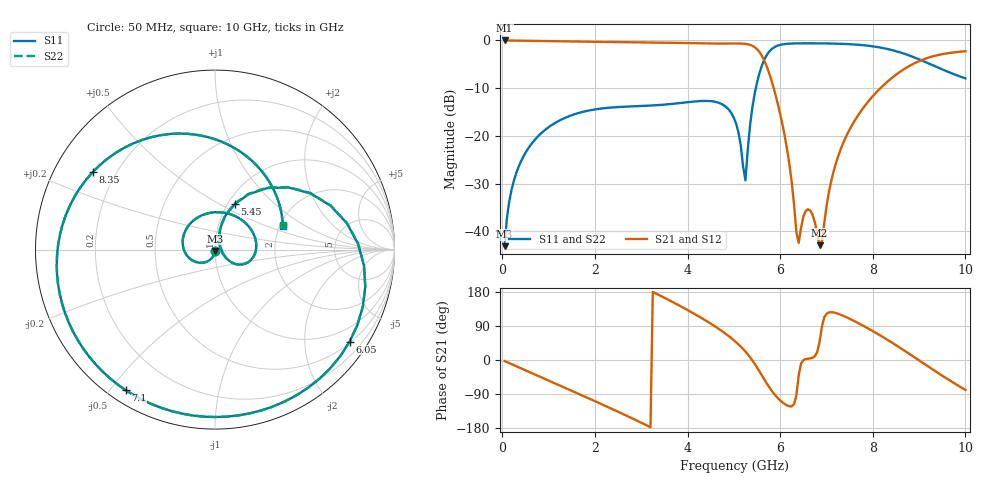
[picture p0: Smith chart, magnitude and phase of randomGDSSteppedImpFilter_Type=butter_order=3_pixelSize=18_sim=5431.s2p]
! freq	dB(S11)	phase(S11)	dB(S12)	phase(S12)
!  dB(S21)	phase(S21)	dB(S22)	phase(S22)
!S-par simulation data
#  GHz  S  DB  R 50
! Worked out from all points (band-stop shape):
!   200 points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, 50 MHz to 10 GHz, reference 50 ohm
!   highest |S21| = 0.00 dB at 50 MHz (marker M1); lowest = -42.9 dB at 6.85 GHz (marker M2)
!   |S21| within 3 dB of the highest: start of sweep to 5.591 GHz; 9.435 GHz to end of sweep
!   lowest |S11| = -43.1 dB at 50 MHz (marker M3), VSWR 1.01, Z = 50 - j0.7 ohm
!   |S11| at or under -10 dB: start of sweep to 5.475 GHz
!   |S22| runs from -43.1 to -0.6 dB; largest |S21 - S12| = 0
!   S11 on the Smith chart (normalised r, x): 50 MHz: 1.00, -0.01; 5.45 GHz: 1.08, +0.59; 6.05 GHz: 0.54, -3.15; 7.1 GHz: 0.05, -0.55; 8.35 GHz: 0.12, +0.29; 10 GHz: 2.07, +0.66
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0.05  -43.10 -91.1  -0.00 -2.8  -0.00 -2.8  -43.10 -91.2
0.2  -31.28 -100.6  -0.02 -10.9  -0.02 -10.9  -31.28 -100.6
0.5  -23.55 -117.7  -0.06 -27.2  -0.06 -27.2  -23.55 -117.7
1.75  -14.94 174.0  -0.25 -94.9  -0.25 -94.9  -14.94 174.1
2.7  -13.86 120.9  -0.37 -147.9  -0.37 -147.9  -13.86 121.1
3.4  -13.52 79.4  -0.45 170.5  -0.45 170.5  -13.52 79.5
4.35  -12.67 17.1  -0.62 107.3  -0.62 107.3  -12.67 17.1
5.05  -17.47 -35.9  -0.64 46.8  -0.64 46.8  -17.49 -36.4
5.25  -29.30 32.9  -0.72 22.2  -0.72 22.2  -29.80 33.9
5.45  -11.15 66.5  -1.41 -10.1  -1.41 -10.1  -11.17 67.1
5.65  -4.18 30.4  -4.07 -49.8  -4.07 -49.8  -4.19 30.7
5.85  -1.57 -6.1  -9.62 -86.3  -9.62 -86.3  -1.57 -5.9
6.05  -0.83 -34.3  -17.63 -112.0  -17.63 -112.0  -0.83 -34.2
6.4  -0.61 -69.9  -42.41 -41.0  -42.41 -41.0  -0.61 -69.8
6.55  -0.60 -82.3  -35.75 2.5  -35.75 2.5  -0.60 -82.2
6.7  -0.60 -93.9  -36.51 5.9  -36.51 5.9  -0.60 -93.8
6.85  -0.61 -104.9  -42.87 47.3  -42.87 47.3  -0.61 -104.8
7.1  -0.65 -122.4  -29.56 126.1  -29.56 126.1  -0.65 -122.4
7.75  -0.96 -167.5  -14.73 93.2  -14.73 93.2  -0.96 -167.5
8.35  -1.86 147.7  -8.36 50.8  -8.36 50.8  -1.86 147.7
9.2  -4.79 79.2  -3.61 -17.5  -3.61 -17.5  -4.79 79.2
10  -7.94 19.5  -2.26 -78.9  -2.26 -78.9  -7.94 19.7
